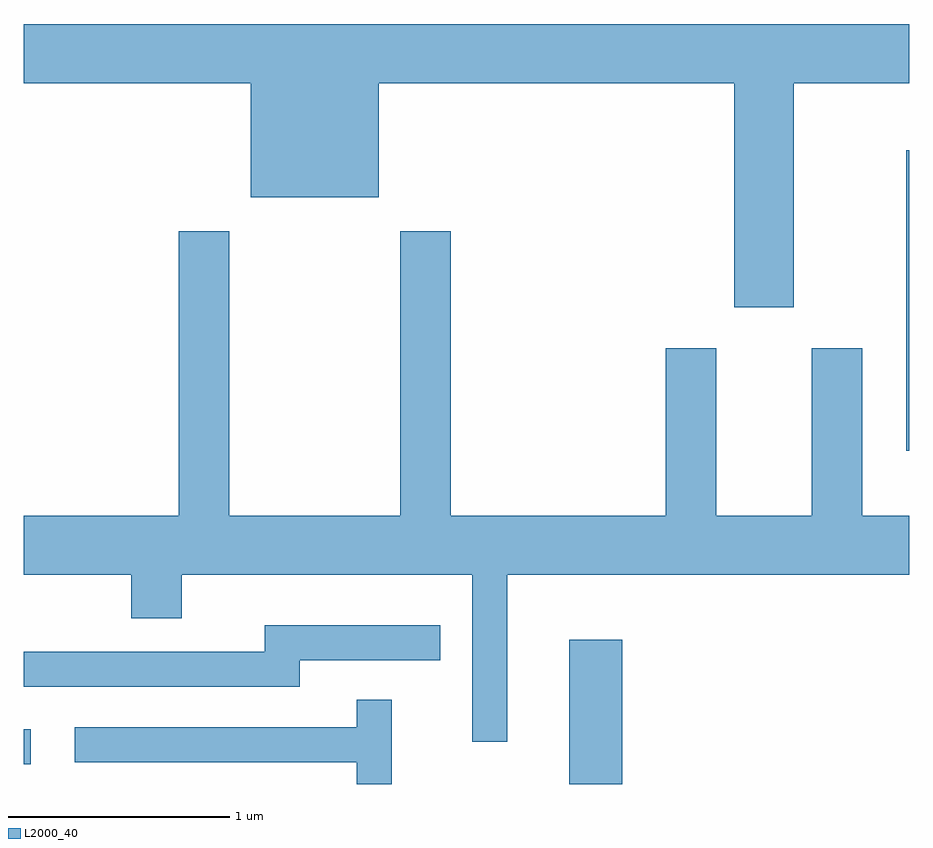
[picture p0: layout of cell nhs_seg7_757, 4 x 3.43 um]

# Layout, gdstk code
import gdstk
lib = gdstk.Library(unit=1e-6, precision=1e-09)
def R(c, l, rs):  # rectangles x0, y0, x1, y1
    for r in rs: c.add(gdstk.rectangle(r[:2], r[2:], *l))
def P(c, l, *ps):  # polygons
    for p in ps: c.add(gdstk.Polygon(p, *l))
L2000_40 = (2000, 40)

nhs_seg7_757 = lib.new_cell('nhs_seg7_757')
R(nhs_seg7_757, L2000_40, [(210.076,1722.252,210.314,1722.904), (207.611,1722.341,207.643,1722.499), (211.596,1723.756,211.611,1725.114)])
P(nhs_seg7_757, L2000_40, [(211.089,1725.416),(211.611,1725.416),(211.611,1725.684),(207.611,1725.684),(207.611,1725.416),(208.636,1725.416),(208.636,1724.901),(209.214,1724.901),(209.214,1725.416),(210.821,1725.416),(210.821,1724.406),(211.089,1724.406)],
  [(209.794,1723.196),(211.611,1723.196),(211.611,1723.464),(211.399,1723.464),(211.399,1724.219),(211.171,1724.219),(211.171,1723.464),(210.739,1723.464),(210.739,1724.219),(210.511,1724.219),(210.511,1723.464),(209.539,1723.464),(209.539,1724.749),(209.311,1724.749),(209.311,1723.464),(208.539,1723.464),(208.539,1724.749),(208.311,1724.749),(208.311,1723.464),(207.611,1723.464),(207.611,1723.196),(208.096,1723.196),(208.096,1723.001),(208.324,1723.001),(208.324,1723.196),(209.636,1723.196),(209.636,1722.443),(209.794,1722.443)],
  [(208.859,1722.811),(209.493,1722.811),(209.493,1722.969),(208.701,1722.969),(208.701,1722.849),(207.611,1722.849),(207.611,1722.691),(208.859,1722.691)],
  [(209.274,1722.633),(209.116,1722.633),(209.116,1722.509),(207.843,1722.509),(207.843,1722.351),(209.116,1722.351),(209.116,1722.252),(209.274,1722.252)])

lib.write_gds('nhs_seg7_757.gds')
